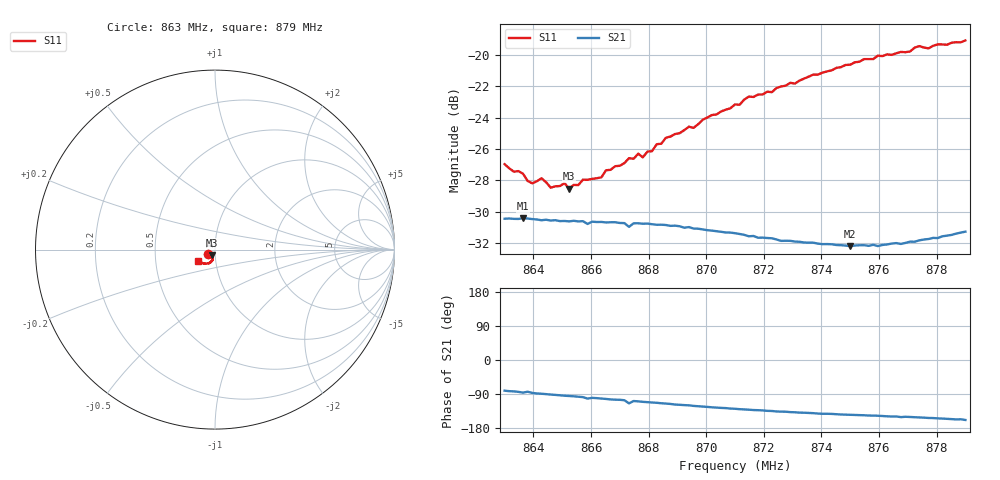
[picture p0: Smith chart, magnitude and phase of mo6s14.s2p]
# HZ S RI R 50
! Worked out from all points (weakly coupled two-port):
!   101 points, 863 MHz to 879 MHz, reference 50 ohm
!   highest |S21| = -30.41 dB at 863.64 MHz (marker M1); lowest = -32.2 dB at 875 MHz (marker M2)
!   lowest |S11| = -28.5 dB at 865.24 MHz (marker M3), VSWR 1.08, Z = 48 - j3.09 ohm
!   |S11| at or under -10 dB: start of sweep to end of sweep
!   S12 and S22 are empty: the file has one direction only
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8.63e8  -0.0364 -0.0262  0.00473 -0.0297  0 0  0 0
8.6364e8  -0.0302 -0.029  0.00201 -0.0301  0 0  0 0
8.6396e8  -0.0271 -0.028  0.00161 -0.0299  0 0  0 0
8.6428e8  -0.0259 -0.0311  0.000513 -0.0297  0 0  0 0
8.646e8  -0.0234 -0.0296  -0.000604 -0.0297  0 0  0 0
8.6508e8  -0.021 -0.0329  -0.00221 -0.0295  0 0  0 0
8.6524e8  -0.0193 -0.0321  -0.00257 -0.0294  0 0  0 0
8.6572e8  -0.0176 -0.036  -0.00408 -0.0292  0 0  0 0
8.6636e8  -0.0153 -0.0378  -0.00596 -0.0288  0 0  0 0
8.6652e8  -0.0149 -0.0402  -0.00645 -0.0285  0 0  0 0
8.6732e8  -0.0134 -0.0449  -0.0117 -0.0258  0 0  0 0
8.6764e8  -0.0136 -0.0465  -0.00954 -0.0275  0 0  0 0
8.678e8  -0.0115 -0.0458  -0.0101 -0.0272  0 0  0 0
8.6844e8  -0.0123 -0.0507  -0.0118 -0.0263  0 0  0 0
8.686e8  -0.0119 -0.0532  -0.0121 -0.026  0 0  0 0
8.6956e8  -0.0143 -0.0568  -0.0144 -0.024  0 0  0 0
8.71e8  -0.0204 -0.0665  -0.0169 -0.0211  0 0  0 0
8.7372e8  -0.0385 -0.0776  -0.0194 -0.0161  0 0  0 0
8.75e8  -0.0517 -0.0775  -0.02 -0.0142  0 0  0 0
8.7644e8  -0.0645 -0.0766  -0.0215 -0.0129  0 0  0 0
8.774e8  -0.0789 -0.0719  -0.0226 -0.0122  0 0  0 0
8.79e8  -0.0929 -0.0614  -0.0254 -0.0101  0 0  0 0
